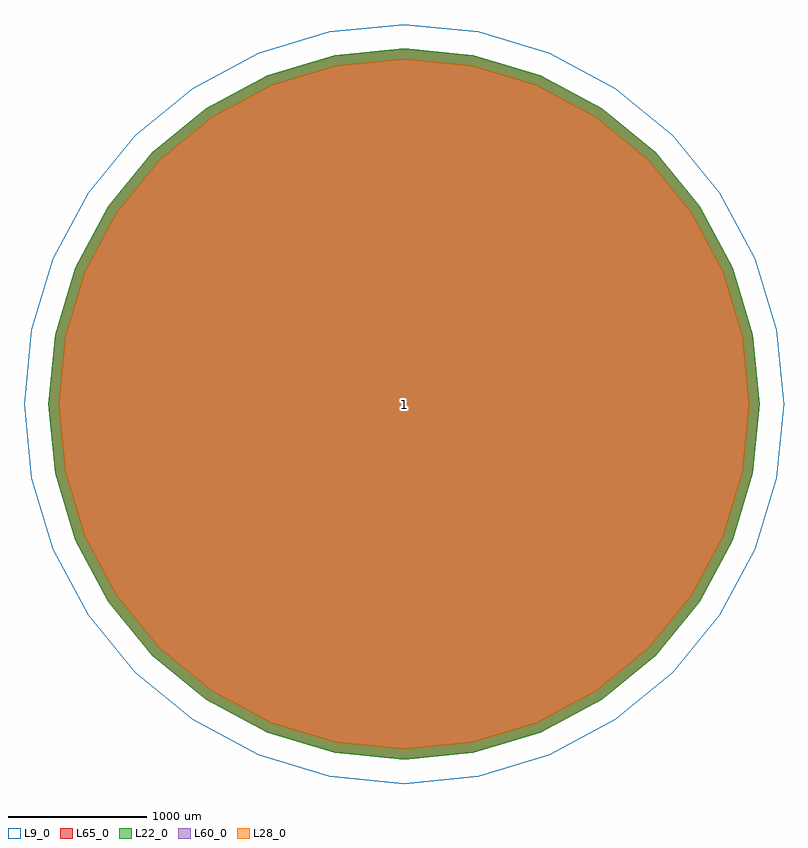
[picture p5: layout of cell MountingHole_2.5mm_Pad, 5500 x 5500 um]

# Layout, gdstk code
import gdstk
lib = gdstk.Library(unit=1e-6, precision=1e-09)
def P(c, l, *ps):  # polygons
    for p in ps: c.add(gdstk.Polygon(p, *l))
L9_0 = (9, 0)
L22_0 = (22, 0)
L28_0 = (28, 0)
L60_0 = (60, 0)
L65_0 = (65, 0)

mountinghole_2_5mm_pad = lib.new_cell('MountingHole_2.5mm_Pad')
P(mountinghole_2_5mm_pad, L9_0, [(2750,0),(2697.16,536.498),(2540.669,1052.379),(2286.541,1527.818),(1944.544,1944.544),(1527.818,2286.541),(1052.379,2540.669),(536.498,2697.16),(0,2750),(-536.498,2697.16),(-1052.379,2540.669),(-1527.818,2286.541),(-1944.544,1944.544),(-2286.541,1527.818),(-2540.669,1052.379),(-2697.16,536.498),(-2750,0),(-2697.16,-536.498),(-2540.669,-1052.379),(-2286.541,-1527.818),(-1944.544,-1944.544),(-1527.818,-2286.541),(-1052.379,-2540.669),(-536.498,-2697.16),(0,-2750),(536.498,-2697.16),(1052.379,-2540.669),(1527.818,-2286.541),(1944.544,-1944.544),(2286.541,-1527.818),(2540.669,-1052.379),(2697.16,-536.498)],
  [(2500,0),(2451.963,487.726),(2309.699,956.709),(2078.674,1388.926),(1767.767,1767.767),(1388.926,2078.674),(956.709,2309.699),(487.726,2451.963),(0,2500),(-487.726,2451.963),(-956.709,2309.699),(-1388.926,2078.674),(-1767.767,1767.767),(-2078.674,1388.926),(-2309.699,956.709),(-2451.963,487.726),(-2500,0),(-2451.963,-487.726),(-2309.699,-956.709),(-2078.674,-1388.926),(-1767.767,-1767.767),(-1388.926,-2078.674),(-956.709,-2309.699),(-487.726,-2451.963),(0,-2500),(487.726,-2451.963),(956.709,-2309.699),(1388.926,-2078.674),(1767.767,-1767.767),(2078.674,-1388.926),(2309.699,-956.709),(2451.963,-487.726)])
P(mountinghole_2_5mm_pad, L22_0, [(2575,0),(2525.522,502.358),(2378.99,985.41),(2141.034,1430.593),(1820.8,1820.8),(1430.593,2141.034),(985.41,2378.99),(502.358,2525.522),(0,2575),(-502.358,2525.522),(-985.41,2378.99),(-1430.593,2141.034),(-1820.8,1820.8),(-2141.034,1430.593),(-2378.99,985.41),(-2525.522,502.358),(-2575,0),(-2525.522,-502.358),(-2378.99,-985.41),(-2141.034,-1430.593),(-1820.8,-1820.8),(-1430.593,-2141.034),(-985.41,-2378.99),(-502.358,-2525.522),(0,-2575),(502.358,-2525.522),(985.41,-2378.99),(1430.593,-2141.034),(1820.8,-1820.8),(2141.034,-1430.593),(2378.99,-985.41),(2525.522,-502.358)])
P(mountinghole_2_5mm_pad, L28_0, [(2500,0),(2451.963,487.726),(2309.699,956.709),(2078.674,1388.926),(1767.767,1767.767),(1388.926,2078.674),(956.709,2309.699),(487.726,2451.963),(0,2500),(-487.726,2451.963),(-956.709,2309.699),(-1388.926,2078.674),(-1767.767,1767.767),(-2078.674,1388.926),(-2309.699,956.709),(-2451.963,487.726),(-2500,0),(-2451.963,-487.726),(-2309.699,-956.709),(-2078.674,-1388.926),(-1767.767,-1767.767),(-1388.926,-2078.674),(-956.709,-2309.699),(-487.726,-2451.963),(0,-2500),(487.726,-2451.963),(956.709,-2309.699),(1388.926,-2078.674),(1767.767,-1767.767),(2078.674,-1388.926),(2309.699,-956.709),(2451.963,-487.726)])
P(mountinghole_2_5mm_pad, L60_0, [(2500,0),(2451.963,487.726),(2309.699,956.709),(2078.674,1388.926),(1767.767,1767.767),(1388.926,2078.674),(956.709,2309.699),(487.726,2451.963),(0,2500),(-487.726,2451.963),(-956.709,2309.699),(-1388.926,2078.674),(-1767.767,1767.767),(-2078.674,1388.926),(-2309.699,956.709),(-2451.963,487.726),(-2500,0),(-2451.963,-487.726),(-2309.699,-956.709),(-2078.674,-1388.926),(-1767.767,-1767.767),(-1388.926,-2078.674),(-956.709,-2309.699),(-487.726,-2451.963),(0,-2500),(487.726,-2451.963),(956.709,-2309.699),(1388.926,-2078.674),(1767.767,-1767.767),(2078.674,-1388.926),(2309.699,-956.709),(2451.963,-487.726)])
P(mountinghole_2_5mm_pad, L65_0, [(2575,0),(2525.522,502.358),(2378.99,985.41),(2141.034,1430.593),(1820.8,1820.8),(1430.593,2141.034),(985.41,2378.99),(502.358,2525.522),(0,2575),(-502.358,2525.522),(-985.41,2378.99),(-1430.593,2141.034),(-1820.8,1820.8),(-2141.034,1430.593),(-2378.99,985.41),(-2525.522,502.358),(-2575,0),(-2525.522,-502.358),(-2378.99,-985.41),(-2141.034,-1430.593),(-1820.8,-1820.8),(-1430.593,-2141.034),(-985.41,-2378.99),(-502.358,-2525.522),(0,-2575),(502.358,-2525.522),(985.41,-2378.99),(1430.593,-2141.034),(1820.8,-1820.8),(2141.034,-1430.593),(2378.99,-985.41),(2525.522,-502.358)])
mountinghole_2_5mm_pad.add(gdstk.Label('1', (0,0), layer=28, texttype=0))
mountinghole_2_5mm_pad.add(gdstk.Label('type', (0,-3500), layer=9, texttype=0))
mountinghole_2_5mm_pad.add(gdstk.Label('devicename', (0,3500), layer=9, texttype=0))

lib.write_gds('MountingHole_2.5mm_Pad.gds')
